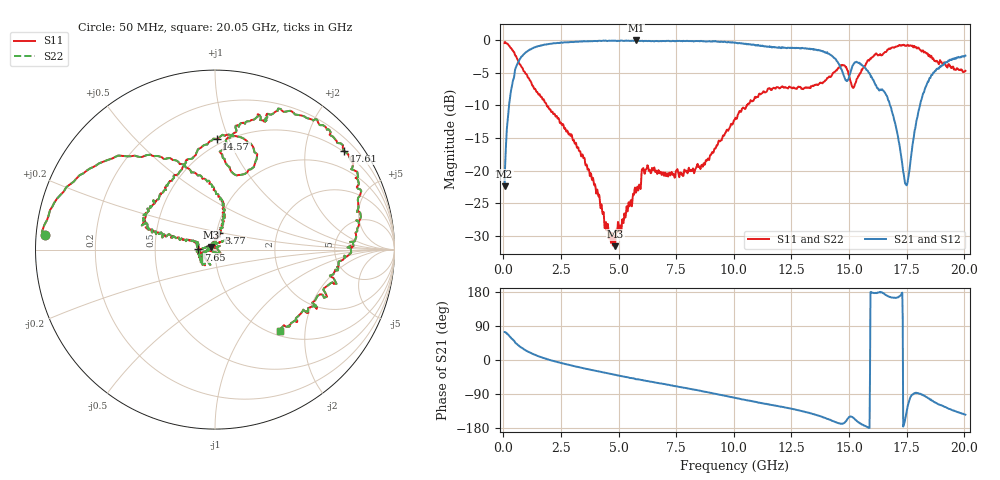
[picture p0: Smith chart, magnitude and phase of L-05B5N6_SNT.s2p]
! P/N: L-05C5N6_SHUNT
! Measured by Marlon
! Sep. 23, 2003
! Measure with a Shunt-through-fixture
#	mhz	s	ma	r	50
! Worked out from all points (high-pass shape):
!   1001 points, 50 MHz to 20.05 GHz, reference 50 ohm
!   highest |S21| = -0.04 dB at 5.75 GHz (marker M1); lowest = -22.4 dB at 50 MHz (marker M2)
!   |S21| within 3 dB of the highest: 685.9 MHz to 14.44 GHz (13.76 GHz wide, 182 % of centre); 19.37 GHz to end of sweep
!   lowest |S11| = -31.6 dB at 4.85 GHz (marker M3), VSWR 1.05, Z = 47.8 + j1.38 ohm
!   |S11| at or under -10 dB: 1.875 GHz to 10.57 GHz (8.699 GHz wide, 140 % of centre)
!   |S22| runs from -31.6 to -0.3 dB; largest |S21 - S12| = 0
!   S11 on the Smith chart (normalised r, x): 50 MHz: 0.02, +0.04; 3.77 GHz: 1.03, +0.19; 7.65 GHz: 0.83, +0.00; 14.57 GHz: 0.46, +0.91; 17.61 GHz: 0.48, +2.89; 20.05 GHz: 1.08, -1.49
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50  0.9519 175.2  0.07596 73.8  0.07596 73.8  0.9519 175.2
290  0.8835 155.5  0.3678 61.0  0.3678 61.0  0.8835 155.5
690  0.6579 128.4  0.707 36.5  0.707 36.5  0.6579 128.4
1590  0.3769 94.4  0.9083 8.3  0.9083 8.3  0.3769 94.4
3390  0.1285 73.7  0.9798 -20.6  0.9798 -20.6  0.1285 73.7
3770  0.09342 76.1  0.9813 -25.7  0.9813 -25.7  0.09342 76.1
4850  0.02629 146.7  0.9878 -39.1  0.9878 -39.1  0.02629 146.7
5750  0.06761 -159.0  0.9952 -50.8  0.9952 -50.8  0.06761 -159.0
6730  0.1006 -145.8  0.981 -60.9  0.981 -60.9  0.1006 -145.8
7650  0.09275 179.5  0.9879 -71.2  0.9879 -71.2  0.09275 179.5
10050  0.2469 164.6  0.9553 -99.6  0.9553 -99.6  0.2469 164.6
11570  0.4257 160.9  0.8917 -118.1  0.8917 -118.1  0.4257 160.9
13390  0.4435 128.1  0.8546 -141.7  0.8546 -141.7  0.4435 128.1
14570  0.6167 89.1  0.6499 -167.0  0.6499 -167.0  0.6167 89.1
14930  0.5854 67.9  0.4894 -155.7  0.4894 -155.7  0.5854 67.9
15170  0.4308 73.5  0.6439 -152.0  0.6439 -152.0  0.4308 73.5
15530  0.5786 84.8  0.6532 -168.9  0.6532 -168.9  0.5786 84.8
16730  0.8608 65.9  0.3413 167.3  0.3413 167.3  0.8608 65.9
17430  0.9035 45.0  0.08 -158.3  0.08 -158.3  0.9035 45.0
17610  0.9054 37.3  0.09722 -106.9  0.09722 -106.9  0.9054 37.3
18470  0.7691 3.3  0.4975 -101.4  0.4975 -101.4  0.7691 3.3
20050  0.5816 -51.3  0.7608 -144.3  0.7608 -144.3  0.5816 -51.3
